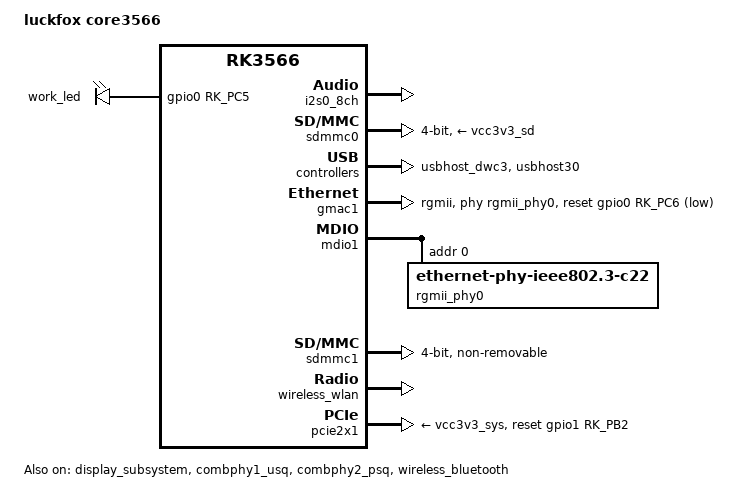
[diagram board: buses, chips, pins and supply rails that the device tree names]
// SPDX-License-Identifier: (GPL-2.0+ OR MIT)
/*
 * Copyright (c) 2023 luckfox technology Limited.
 */
#include "core3566-luckfox-rk3566.dtsi"

/ {
	model = "luckfox core3566";
	compatible = "luckfox,core3566", "rockchip,rk3566";
 
    leds: leds {
        compatible = "gpio-leds";
        work_led: work{
            gpios = <&gpio0 RK_PC5 GPIO_ACTIVE_HIGH>;
            linux,default-trigger = "timer";
            default-state = "on";
		};
	};
    mcp251x_clk:mcp251x-clk{
        compatible = "fixed-clock";
        #clock-cells = <0>;
        clock-frequency = <16000000>;
    };
    
    sc16is752_clk:sc16is752-clk{
        compatible = "fixed-clock";
        #clock-cells = <0>;
        clock-output-names = "sc16is752_clk";
        clock-frequency = <14745600>;
                        // 16000000
    };


};

&i2s0_8ch {
	status = "okay";
};

&display_subsystem {
    status = "okay";
};

&sdmmc0 {
	max-frequency = <150000000>;
	bus-width = <4>;
	cap-mmc-highspeed;
	cap-sd-highspeed;
	supports-sd;
	card-detect-delay = <800>;
	ignore-pm-notify;
	disable-wp;
	sd-uhs-sdr50;
	sd-uhs-sdr25;
	vmmc-supply = <&vcc3v3_sd>;
	vqmmc-supply = <&vccio_sd>;
	pinctrl-names = "default";
	pinctrl-0 = <&sdmmc0_bus4 &sdmmc0_clk &sdmmc0_cmd &sdmmc0_det>;
	status = "okay";
};

&usbhost_dwc3 {
	status = "okay";
};

&usbhost30 {
	status = "okay";
};

&combphy1_usq {
	status = "okay";
};

&combphy2_psq {
	status = "okay";
};

&u2phy0_host {
	status = "disabled";
};

&u2phy1_otg {
	status = "disabled";
};

&u2phy1_host {
	status = "disabled";
};

&usb_host0_ehci {
	status = "disabled";
};

&usb_host0_ohci {
	status = "disabled";
};

&usb_host1_ehci {
	status = "disabled";
};

&usb_host1_ohci {
	status = "disabled";
};

&pinctrl {

};

&gmac1 {
    phy-mode = "rgmii";
    clock_in_out = "output";

    snps,reset-gpio = <&gpio0 RK_PC6 GPIO_ACTIVE_LOW>;
    snps,reset-active-low;
    /* Reset time is 20ms, 100ms for rtl8211f */
    snps,reset-delays-us = <0 20000 100000>;

    assigned-clocks = <&cru SCLK_GMAC1_RX_TX>, <&cru SCLK_GMAC1>;
    assigned-clock-parents = <&cru SCLK_GMAC1_RGMII_SPEED>, <&cru CLK_MAC1_2TOP>;
    assigned-clock-rates = <0>, <125000000>;

    pinctrl-names = "default";
    pinctrl-0 = <&gmac1m1_miim
             &gmac1m1_tx_bus2
             &gmac1m1_rx_bus2
             &gmac1m1_rgmii_clk
             &gmac1m1_rgmii_bus>;

    tx_delay = <0x40>;
    rx_delay = <0x24>;

    phy-handle = <&rgmii_phy0>;
    status = "okay";
};

&mdio1 {
    rgmii_phy0: phy@0 {
        compatible = "ethernet-phy-ieee802.3-c22";
        reg = <0x0>;
    };
};

&sdmmc1 {
    max-frequency = <150000000>;
    supports-sdio;
    bus-width = <4>;
    disable-wp;
    cap-sd-highspeed;
    cap-sdio-irq;
    keep-power-in-suspend;
    mmc-pwrseq = <&sdio_pwrseq>;
    non-removable;
    pinctrl-names = "default";
    pinctrl-0 = <&sdmmc1_bus4 &sdmmc1_cmd &sdmmc1_clk>;
    sd-uhs-sdr104;
    status = "okay";
};

&sdio_pwrseq {
    reset-gpios = <&gpio2 RK_PB1 GPIO_ACTIVE_LOW>;
};

&wireless_wlan {
    pinctrl-names = "default";
    pinctrl-0 = <&wifi_host_wake_irq>;
    WIFI,host_wake_irq = <&gpio2 RK_PB2 GPIO_ACTIVE_HIGH>;
};

&wireless_bluetooth {
    compatible = "bluetooth-platdata";
    clocks = <&rk809 1>;
    clock-names = "ext_clock";
    //wifi-bt-power-toggle;
    uart_rts_gpios = <&gpio2 RK_PB5 GPIO_ACTIVE_LOW>;
    pinctrl-names = "default", "rts_gpio";
    pinctrl-0 = <&uart1m0_rtsn>;
    pinctrl-1 = <&uart1_gpios>;
    BT,reset_gpio    = <&gpio2 RK_PB7 GPIO_ACTIVE_HIGH>;
    BT,wake_gpio     = <&gpio2 RK_PC1 GPIO_ACTIVE_HIGH>;
    BT,wake_host_irq = <&gpio2 RK_PC0 GPIO_ACTIVE_HIGH>;
    status = "okay";
};

//PCIe
&pcie2x1 {
    reset-gpios = <&gpio1 RK_PB2 GPIO_ACTIVE_HIGH>;
    vpcie3v3-supply = <&vcc3v3_sys>;
    status = "okay";
};
